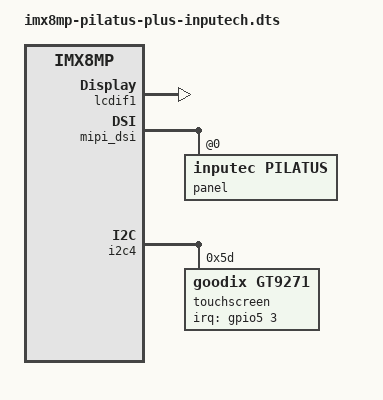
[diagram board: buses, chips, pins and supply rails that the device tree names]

/*
 * Copyright 2022 Bruetsch Elektronik AG
 */

#include "imx8mp-pilatus-plus.dts"

/* MIPI-DSI */
&lcdif1 {
	status = "okay";
};

&mipi_dsi {
	status = "okay";
	panel@0 {
		compatible = "inputec,pilatus";
		reg = <0>;
		dsi-lanes = <4>;
		video-mode = <2>;	/* 0: burst mode
					 * 1: non-burst mode with sync event
					 * 2: non-burst mode with sync pulse
					 */
		status = "okay";
	};
};

/* LVDS */
&lcdif2 {
	status = "disabled";
};

&ldb {
	status = "disabled";
};

&ldb_phy {
	status = "disabled";
};

&i2c4 {
	/* Capacitive touch controller */
	touchscreen@5d	 {
		compatible = "goodix,gt9271";
		reg = <0x5d>;
		pinctrl-names = "default";
		pinctrl-0 = <&pinctrl_captouch>;
		interrupt-parent = <&gpio5>;
		interrupts = <3 IRQ_TYPE_LEVEL_HIGH>;
		irq-gpios = <&gpio5 3 GPIO_ACTIVE_HIGH>;
	};
};

&iomuxc {
	pinctrl_captouch: captouchgrp {
		fsl,pins = <
			MX8MP_IOMUXC_SPDIF_TX__GPIO5_IO03 		0x16
		>;
	};
};
